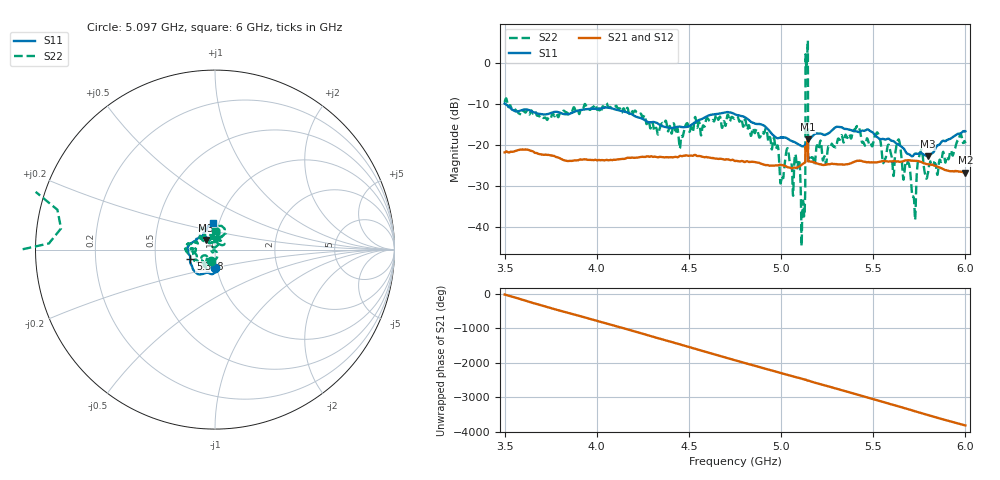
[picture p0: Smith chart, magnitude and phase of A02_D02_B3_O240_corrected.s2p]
! Created with skrf 1.9.0 (http://scikit-rf.org).
# Hz S RI R 50.0
!freq ReS11 ImS11 ReS21 ImS21 ReS12 ImS12 ReS22 ImS22
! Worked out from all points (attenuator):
!   1601 points, 3.5 GHz to 6 GHz, reference 50 ohm
!   highest |S21| = -18.66 dB at 5.145 GHz (marker M1); lowest = -26.7 dB at 6 GHz (marker M2)
!   lowest |S11| = -22.8 dB at 5.797 GHz (marker M3), VSWR 1.16, Z = 45.1 + j4.81 ohm
!   |S11| at or under -10 dB: 3.504 GHz to end of sweep
!   |S22| runs from -44.7 to 5.5 dB; largest |S21 - S12| = 0.0013
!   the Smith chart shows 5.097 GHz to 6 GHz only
!   S11 on the Smith chart (normalised r, x): 5.097 GHz: 0.98, -0.20; 5.398 GHz: 0.75, -0.08; 6 GHz: 0.94, +0.28
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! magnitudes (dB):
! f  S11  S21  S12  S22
! 3.5 GHz  -9.9  -21.8  -21.8  -9.5
! 3.917 GHz  -11.4  -23.6  -23.6  -10.9
! 4.334 GHz  -14.9  -23.0  -22.9  -17.2
! 4.75 GHz  -12.5  -23.9  -23.8  -13.5
! 4.97 GHz  -18.1  -25.0  -24.9  -20.8
! 5.003 GHz  -18.2  -24.9  -24.9  -28.1
! 5.033 GHz  -18.4  -25.4  -25.3  -20.9
! 5.097 GHz  -19.9  -25.3  -25.2  -23.6
! 5.119 GHz  -20.3  -24.6  -24.5  -33.6
! 5.133 GHz  -19.8  -20.3  -20.3  2.1
! 5.145 GHz  -19.2  -18.7  -18.6  5.5
! 5.159 GHz  -18.4  -24.1  -23.9  -22.9
! 5.167 GHz  -18.0  -24.1  -24.1  -23.1
! 5.398 GHz  -16.7  -24.1  -24.1  -16.4
! 5.584 GHz  -18.5  -24.0  -24.0  -19.9
! 5.609 GHz  -19.0  -23.9  -23.8  -27.5
! 5.639 GHz  -19.9  -24.1  -24.0  -18.7
! 5.692 GHz  -22.2  -23.7  -23.6  -24.4
! 5.72 GHz  -22.4  -23.9  -23.8  -32.9
! 5.753 GHz  -21.9  -24.1  -24.0  -22.2
! 5.797 GHz  -22.8  -24.7  -24.6  -26.9
! 6 GHz  -16.7  -26.7  -26.6  -19.6
